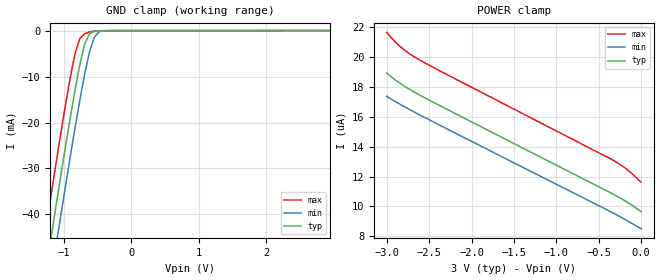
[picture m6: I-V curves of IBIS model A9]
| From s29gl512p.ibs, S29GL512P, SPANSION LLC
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|   Model A9
[Model]  A9
Model_type Input
Vinl =   0.9000V
Vinh =   2.1000V
C_comp   2.0000pF   2.0000pF   2.0000pF
[Temperature Range]   25.0000   85.0000   -40.0000
[Pullup Reference]   3.0000V   2.7000V   3.6000V
[Pulldown Reference]   0.0V   0.0V   0.0V
[POWER Clamp Reference]   3.0000V   2.7000V   3.6000V
[GND Clamp Reference]   0.0V   0.0V   0.0V
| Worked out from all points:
|   GND clamp passes 1 mA (typ) near -0.63 V on its own axis
[GND_clamp]
|Voltage   I(typ)   I(min)   I(max)
-3V       -221.5mA   -229.8mA   -212.6mA
-1.32V    -57.53mA   -66.22mA   -48.26mA
-1.25V    -50.87mA   -59.57mA   -41.6mA
-1.18V    -44.26mA   -52.96mA   -34.99mA
-1.11V    -37.71mA   -46.39mA   -28.46mA
-1.04V    -31.23mA   -39.89mA   -22.04mA
-830mV    -12.71mA   -20.97mA   -4.827mA
-760mV    -7.27mA    -15.04mA   -1.693mA
-690mV    -2.925mA   -9.515mA   -695.5uA
-550mV    -172.8uA   -1.516mA   -105.5uA
-410mV    -21.05uA   -54.93uA   -11.2uA
2.95V     9.44uA     9.312uA    9.198uA
[POWER_clamp]
|Voltage   I(typ)   I(min)   I(max)
-3V       18.95uA    17.38uA    21.67uA
-2.92V    18.57uA    17.1uA     21.15uA
-2.84V    18.25uA    16.84uA    20.71uA
-2.76V    17.95uA    16.59uA    20.35uA
-2.64V    17.56uA    16.22uA    19.91uA
-2.08V    15.9uA     14.59uA    18.22uA
-360mV    10.91uA    9.644uA    13.19uA
-200mV    10.41uA    9.154uA    12.63uA
-120mV    10.13uA    8.895uA    12.26uA
0V        9.643uA    8.503uA    11.62uA
